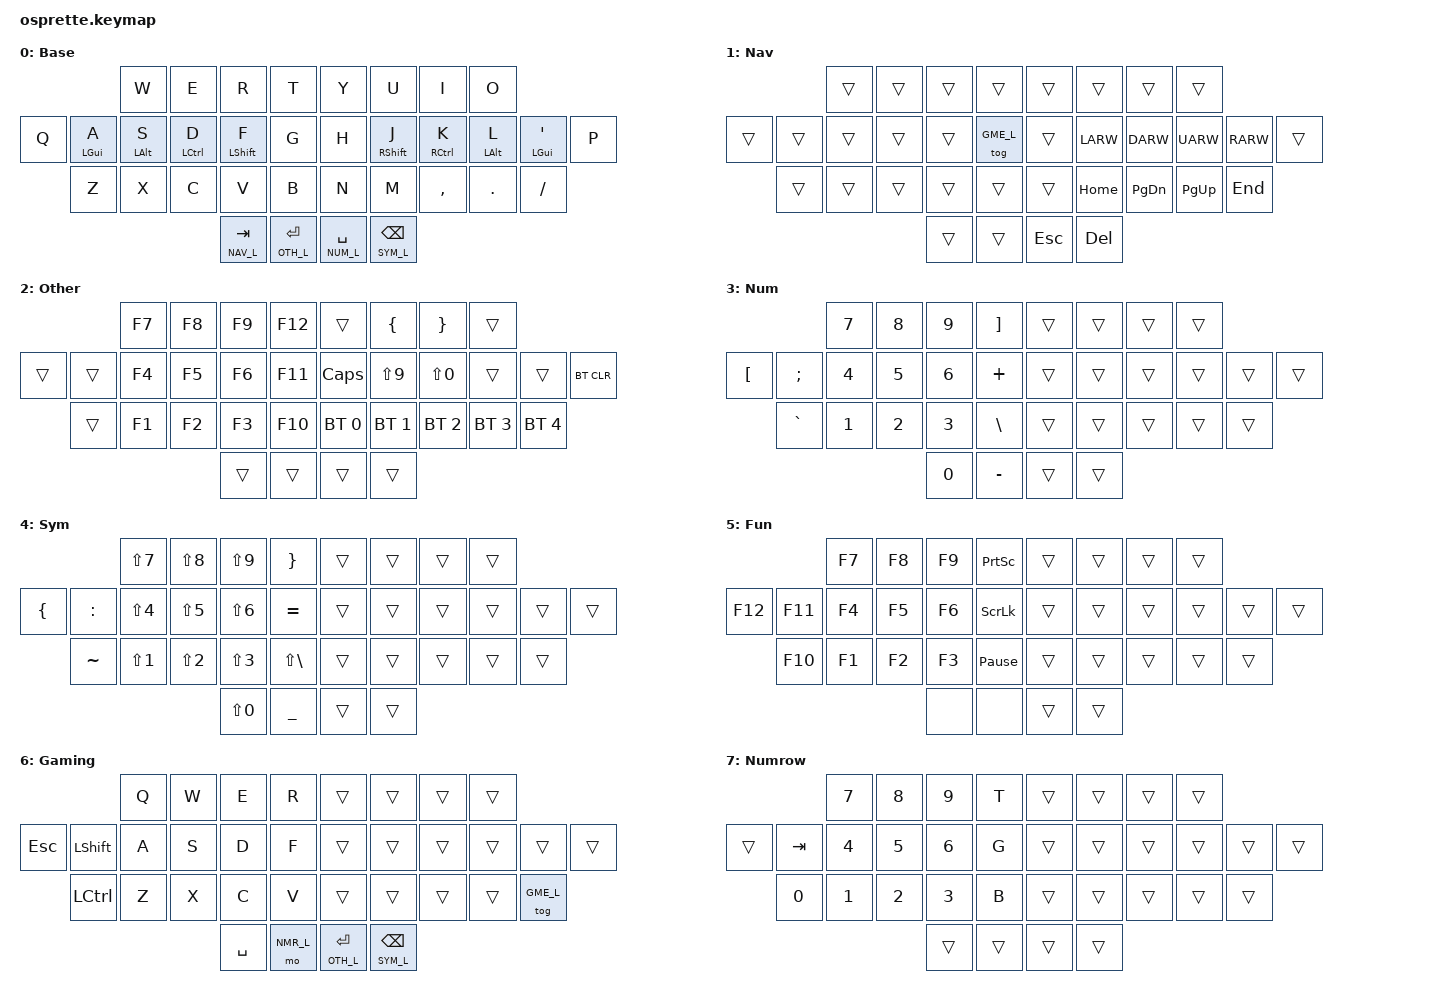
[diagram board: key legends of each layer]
/*
 * Copyright (c) 2021 Pete Johanson, modified by Dionysus
 *
 * SPDX-License-Identifier: MIT
 */

#include <behaviors.dtsi>
#include <dt-bindings/zmk/keys.h>
#include <dt-bindings/zmk/bt.h>
#include <dt-bindings/zmk/outputs.h>

#define BSE_L 0
#define NAV_L 1
#define OTH_L 2
#define NUM_L 3
#define SYM_L 4
#define FUN_L 5
#define GME_L 6
#define NMR_L 7

// Using layer taps on thumbs, having quick tap as well helps w/ repeating space/backspace
&lt { quick_tap_ms = <200>; };

/ {
    combos {
        compatible = "zmk,combos";

        fn_mo {
	    timeout-ms = <50>;
            key-positions = <32 33>;
            bindings = <&mo FUN_L>;
        };

	/*
        caps_word_combo {
	    timeout-ms = <50>;
            key-positions = <13 16>;
            bindings = <&caps_word>;
        };
	*/
    };

    behaviors {
        hm: homerow_mods {
            compatible = "zmk,behavior-hold-tap";
            label = "homerow mods";
            #binding-cells = <2>;
            tapping_term_ms = <180>;
            flavor = "tap-preferred";
            bindings = <&kp>, <&kp>;
        };
    };

    keymap {
        compatible = "zmk,keymap";

        default_layer {
            label = "Base";
            bindings = <
                           &kp W      &kp E       &kp R          &kp T         &kp Y            &kp U          &kp I       &kp O     
          &kp Q &hm LGUI A &hm LALT S &hm LCTRL D &hm LSHFT F    &kp G         &kp H            &hm RSHFT J    &hm RCTRL K &hm LALT L &hm LGUI QUOT &kp P
                &kp Z      &kp X      &kp C       &kp V          &kp B         &kp N            &kp M          &kp COMMA   &kp DOT    &kp FSLH
                                                  &lt NAV_L TAB  &lt OTH_L RET   &lt NUM_L SPACE  &lt SYM_L BKSP
            >;
        };

        nav_layer {
            label = "Nav";
            bindings = <
                           &trans     &trans      &trans          &trans       &trans           &trans         &trans      &trans     
         &trans &trans     &trans     &trans      &trans          &tog GME_L   &trans           &kp LARW       &kp DARW    &kp UARW   &kp RARW &trans
                &trans     &trans     &trans      &trans          &trans       &trans           &kp HOME       &kp PG_DN   &kp PG_UP  &kp END
                                                  &trans          &trans       &kp ESC          &kp DEL
            >;
        };
	
	other_layer {
            label = "Other";
            bindings = <
                	   &kp F7     &kp F8      &kp F9          &kp F12      &trans           &kp LBRC       &kp RBRC     &trans      
       &trans   &trans     &kp F4     &kp F5      &kp F6          &kp F11      &kp CAPS         &kp LS(N9)     &kp LS(N0)   &trans       &trans       &bt BT_CLR
                &trans     &kp F1     &kp F2      &kp F3          &kp F10      &bt BT_SEL 0     &bt BT_SEL 1   &bt BT_SEL 2 &bt BT_SEL 3 &bt BT_SEL 4
                                                  &trans          &trans       &trans           &trans
            >;
        };

        num_layer {
            label = "Num";
            bindings = <
                           &kp N7     &kp N8      &kp N9          &kp RBKT      &trans          &trans         &trans      &trans     
       &kp LBKT &kp SEMI   &kp N4     &kp N5      &kp N6          &kp PLUS      &trans          &trans         &trans      &trans     &trans &trans
                &kp GRAVE  &kp N1     &kp N2      &kp N3          &kp BSLH      &trans          &trans         &trans      &trans     &trans
                                                  &kp N0          &kp MINUS     &trans          &trans
            >;
        };

        sym_layer {
            label = "Sym";
            bindings = <
                             &kp LS(N7)  &kp LS(N8)  &kp LS(N9) &kp RBRC        &trans &trans   &trans    &trans    
       &kp LBRC &kp COLON    &kp LS(N4)  &kp LS(N5)  &kp LS(N6) &kp EQUAL       &trans &trans   &trans    &trans    &trans &trans
                &kp TILDE    &kp LS(N1)  &kp LS(N2)  &kp LS(N3) &kp LS(BSLH)    &trans &trans   &trans    &trans    &trans
                                                     &kp LS(N0) &kp UNDER       &trans &trans
            >;
        };

        fun_layer {
            label = "Fun";
            bindings = <
                            &kp F7     &kp F8      &kp F9     &kp PSCRN         &trans          &trans         &trans      &trans    
        &kp F12 &kp F11     &kp F4     &kp F5      &kp F6     &kp SLCK          &trans          &trans         &trans      &trans     &trans	 &trans
                &kp F10     &kp F1     &kp F2      &kp F3     &kp PAUSE_BREAK   &trans          &trans         &trans      &trans     &trans
                                                   &none      &none             &trans          &trans
            >;
        };
        
        gaming_layer {
            label = "Gaming";
            bindings = <
	                              &kp Q     &kp W      &kp E           &kp R       &trans           &trans         &trans       &trans       
               &kp ESC &kp LSHFT      &kp A     &kp S      &kp D           &kp F       &trans           &trans         &trans       &trans       &trans    &trans
		       &kp LCTRL      &kp Z     &kp X      &kp C           &kp V       &trans           &trans         &trans       &trans       &tog GME_L
                                                  &kp SPACE       &mo NMR_L      &lt OTH_L RET    &lt SYM_L BKSP
            >;
        };

        numrow_layer {
            label = "Numrow";
            bindings = <
                            &kp N7     &kp N8      &kp N9          &kp T         &trans          &trans         &trans      &trans    
         &trans &kp TAB     &kp N4     &kp N5      &kp N6          &kp G         &trans          &trans         &trans      &trans     &trans &trans
                &kp N0      &kp N1     &kp N2      &kp N3          &kp B         &trans          &trans         &trans      &trans     &trans
                                                  &trans          &trans        &trans          &trans
            >;
        };
    };
};
